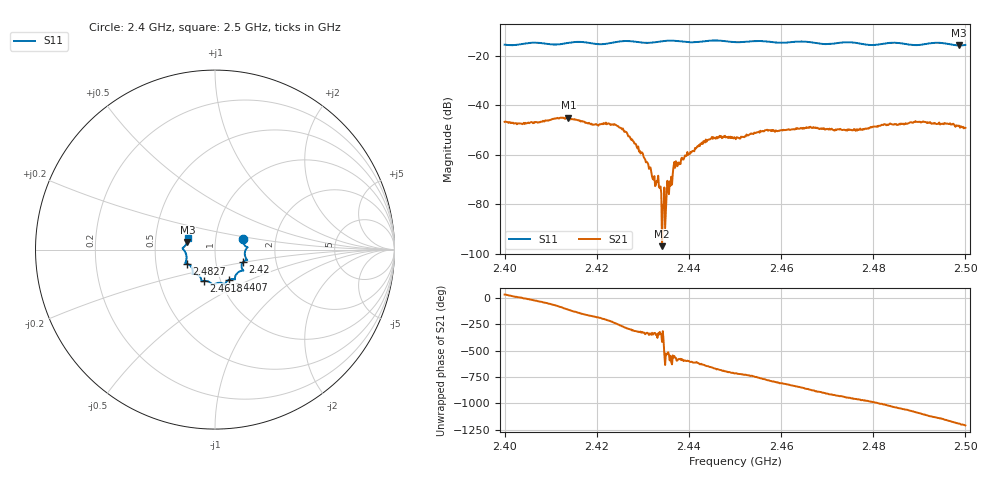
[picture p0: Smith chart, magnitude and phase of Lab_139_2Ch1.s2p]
# Hz S RI R 50
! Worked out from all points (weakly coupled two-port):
!   601 points, 2.4 GHz to 2.5 GHz, reference 50 ohm
!   highest |S21| = -45.04 dB at 2.4138 GHz (marker M1); lowest = -97.0 dB at 2.4342 GHz (marker M2)
!   lowest |S11| = -15.9 dB at 2.4987 GHz (marker M3), VSWR 1.38, Z = 36.5 + j3.23 ohm
!   |S11| at or under -10 dB: start of sweep to end of sweep
!   S12 and S22 are empty: the file has one direction only
!   S11 on the Smith chart (normalised r, x): 2.4 GHz: 1.35, +0.17; 2.42 GHz: 1.35, -0.19; 2.4407 GHz: 1.10, -0.38; 2.4618 GHz: 0.83, -0.30; 2.4827 GHz: 0.72, -0.12; 2.5 GHz: 0.73, +0.10
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2.4e9  0.1545 0.0612  0.00388 0.00243  0 0  0 0
2.413833e9  0.1733 -0.0502  -0.002 -0.00523  0 0  0 0
2.416667e9  0.1789 -0.0588  -0.00413 -0.00229  0 0  0 0
2.42e9  0.1564 -0.069  -0.00396 0.000339  0 0  0 0
2.423833e9  0.1516 -0.1072  -0.00225 0.00345  0 0  0 0
2.426167e9  0.1583 -0.117  0.000577 0.00286  0 0  0 0
2.4295e9  0.1392 -0.1207  0.000804 0.000675  0 0  0 0
2.432333e9  0.1148 -0.1434  0.00029 0.000112  0 0  0 0
2.433333e9  0.1118 -0.1529  0.000341 0.000149  0 0  0 0
2.434167e9  0.1112 -0.1594  7.59e-06 -1.18e-05  0 0  0 0
2.434667e9  0.1113 -0.1624  -0.000216 -9.21e-06  0 0  0 0
2.437167e9  0.1091 -0.1656  -0.000634 0.000371  0 0  0 0
2.440667e9  0.079 -0.1676  -0.000446 0.00107  0 0  0 0
2.444833e9  0.0541 -0.1935  0.00101 0.00186  0 0  0 0
2.45e9  0.0269 -0.1848  0.00215 0.000109  0 0  0 0
2.461833e9  -0.0615 -0.1749  -0.000822 -0.00305  0 0  0 0
2.466667e9  -0.0758 -0.1681  -0.00317 -0.00133  0 0  0 0
2.4765e9  -0.1247 -0.1282  -0.00139 0.00271  0 0  0 0
2.482667e9  -0.1581 -0.0779  0.00177 0.0036  0 0  0 0
2.483333e9  -0.162 -0.077  0.00218 0.00334  0 0  0 0
2.498667e9  -0.1541 0.043  -0.00154 -0.0035  0 0  0 0
2.5e9  -0.1514 0.0633  -0.00229 -0.0026  0 0  0 0
